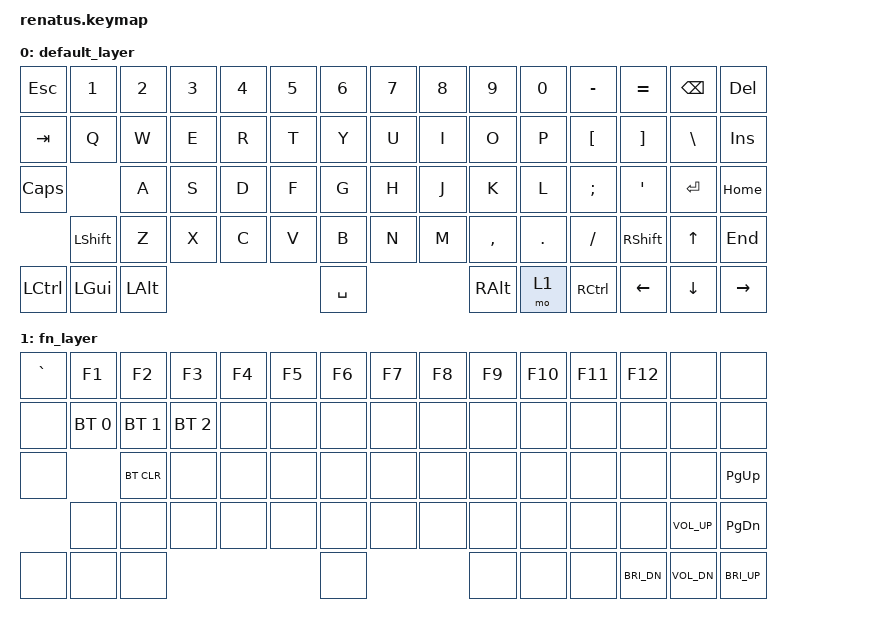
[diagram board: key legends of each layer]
#include <behaviors.dtsi>
#include <dt-bindings/zmk/keys.h>
#include <dt-bindings/zmk/bt.h>

/ {
    keymap {
      compatible = "zmk,keymap";

      default_layer {
        bindings = <
          &kp ESC   &kp N1    &kp N2   &kp N3 &kp N4 &kp N5 &kp N6    &kp N7 &kp N8 &kp N9    &kp N0  &kp MINUS     &kp EQUAL &kp BSPC  &kp DEL
          &kp TAB   &kp Q     &kp W    &kp E  &kp R  &kp T  &kp Y     &kp U  &kp I  &kp O     &kp P   &kp LBKT      &kp RBKT  &kp BSLH  &kp INS
          &kp CAPS            &kp A    &kp S  &kp D  &kp F  &kp G     &kp H  &kp J  &kp K     &kp L   &kp SEMI      &kp SQT   &kp ENTER &kp HOME
                    &kp LSHFT &kp Z    &kp X  &kp C  &kp V  &kp B     &kp N  &kp M  &kp COMMA &kp DOT &kp SLASH     &kp RSHFT &kp UP    &kp END
          &kp LCTRL &kp LGUI  &kp LALT                      &kp SPACE               &kp RALT  &mo 1   &kp RCTRL     &kp LEFT  &kp DOWN  &kp RIGHT 
        >;
      };

      fn_layer {
        bindings = <
          &kp GRAVE &kp F1       &kp F2       &kp F3       &kp F4 &kp F5 &kp F6 &kp F7 &kp F8 &kp F9 &kp F10 &kp F11 &kp F12      &none        &none
          &none     &bt BT_SEL 0 &bt BT_SEL 1 &bt BT_SEL 2 &none  &none  &none  &none  &none  &none  &none   &none   &none        &none        &none
          &none                  &bt BT_CLR   &none        &none  &none  &none  &none  &none  &none  &none   &none   &none        &none        &kp PG_UP
                    &none        &none        &none        &none  &none  &none  &none  &none  &none  &none   &none   &none        &kp C_VOL_UP &kp PG_DN
          &none     &none        &none                                   &none                &none  &none   &none   &kp C_BRI_DN &kp C_VOL_DN &kp C_BRI_UP
        >;
      };
    };
};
